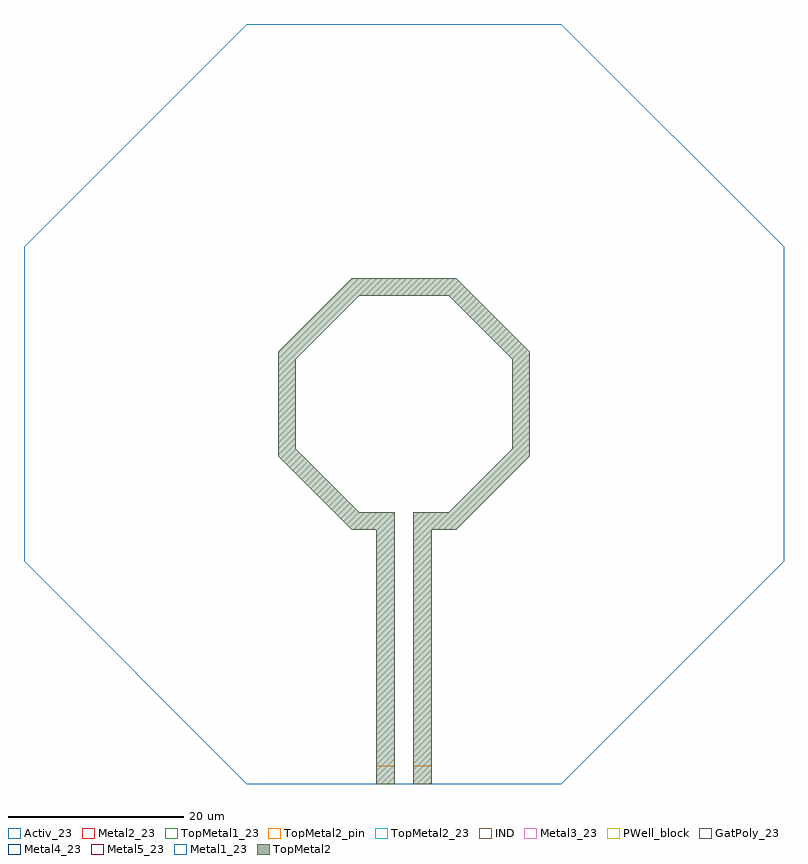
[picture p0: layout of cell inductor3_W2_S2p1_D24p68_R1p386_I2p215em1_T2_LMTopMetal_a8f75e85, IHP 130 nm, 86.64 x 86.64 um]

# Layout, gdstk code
import gdstk
lib = gdstk.Library(unit=1e-6, precision=1e-09)
def R(c, l, rs):  # rectangles x0, y0, x1, y1
    for r in rs: c.add(gdstk.rectangle(r[:2], r[2:], *l))
def P(c, l, *ps):  # polygons
    for p in ps: c.add(gdstk.Polygon(p, *l))
Activ_23 = (1, 23)
GatPoly_23 = (5, 23)
Metal1_23 = (8, 23)
Metal2_23 = (10, 23)
IND = (27, 0)
Metal3_23 = (30, 23)
PWell_block = (46, 21)
Metal4_23 = (50, 23)
Metal5_23 = (67, 23)
TopMetal1_23 = (126, 23)
TopMetal2 = (134, 0)
TopMetal2_pin = (134, 2)
TopMetal2_23 = (134, 23)

unnamed_117 = lib.new_cell('Unnamed_117')
P(unnamed_117, TopMetal2, [(-5.94,28.979),(-14.341,37.38),(-14.341,49.26),(-5.94,57.661),(5.94,57.661),(14.341,49.26),(14.341,37.38),(5.94,28.979),(1.05,28.979),(1.05,30.979),(5.112,30.979),(12.341,38.208),(12.341,48.432),(5.112,55.661),(-5.112,55.661),(-12.341,48.432),(-12.341,38.208),(-5.112,30.979),(-1.05,30.979),(-1.05,28.979)])

rectangle_gdsfactorypcom = lib.new_cell('rectangle_gdsfactorypcomponentspshapesprectangle_S2p1_3_26b8a937')
R(rectangle_gdsfactorypcom, TopMetal2, [(0,0,2.1,30.98)])

c_rectangle_gdsfactorypcom = lib.new_cell('rectangle_gdsfactorypcomponentspshapesprectangle_S2p1_2_11f85509')
R(c_rectangle_gdsfactorypcom, TopMetal2_pin, [(0,0,2.1,2.1)])

inductor3_w2_s2p1_d24p68 = lib.new_cell('inductor3_W2_S2p1_D24p68_R1p386_I2p215em1_T2_LMTopMetal_a8f75e85')
P(inductor3_w2_s2p1_d24p68, Activ_23, [(-17.944,0),(-43.32,25.376),(-43.32,61.264),(-17.944,86.64),(17.944,86.64),(43.32,61.264),(43.32,25.376),(17.944,0)])
P(inductor3_w2_s2p1_d24p68, GatPoly_23, [(-17.944,0),(-43.32,25.376),(-43.32,61.264),(-17.944,86.64),(17.944,86.64),(43.32,61.264),(43.32,25.376),(17.944,0)])
P(inductor3_w2_s2p1_d24p68, Metal1_23, [(-17.944,0),(-43.32,25.376),(-43.32,61.264),(-17.944,86.64),(17.944,86.64),(43.32,61.264),(43.32,25.376),(17.944,0)])
P(inductor3_w2_s2p1_d24p68, Metal2_23, [(-17.944,0),(-43.32,25.376),(-43.32,61.264),(-17.944,86.64),(17.944,86.64),(43.32,61.264),(43.32,25.376),(17.944,0)])
P(inductor3_w2_s2p1_d24p68, IND, [(-17.944,0),(-43.32,25.376),(-43.32,61.264),(-17.944,86.64),(17.944,86.64),(43.32,61.264),(43.32,25.376),(17.944,0)])
P(inductor3_w2_s2p1_d24p68, Metal3_23, [(-17.944,0),(-43.32,25.376),(-43.32,61.264),(-17.944,86.64),(17.944,86.64),(43.32,61.264),(43.32,25.376),(17.944,0)])
P(inductor3_w2_s2p1_d24p68, PWell_block, [(-17.944,0),(-43.32,25.376),(-43.32,61.264),(-17.944,86.64),(17.944,86.64),(43.32,61.264),(43.32,25.376),(17.944,0)])
P(inductor3_w2_s2p1_d24p68, Metal4_23, [(-17.944,0),(-43.32,25.376),(-43.32,61.264),(-17.944,86.64),(17.944,86.64),(43.32,61.264),(43.32,25.376),(17.944,0)])
P(inductor3_w2_s2p1_d24p68, Metal5_23, [(-17.944,0),(-43.32,25.376),(-43.32,61.264),(-17.944,86.64),(17.944,86.64),(43.32,61.264),(43.32,25.376),(17.944,0)])
P(inductor3_w2_s2p1_d24p68, TopMetal1_23, [(-17.944,0),(-43.32,25.376),(-43.32,61.264),(-17.944,86.64),(17.944,86.64),(43.32,61.264),(43.32,25.376),(17.944,0)])
P(inductor3_w2_s2p1_d24p68, TopMetal2_23, [(-17.944,0),(-43.32,25.376),(-43.32,61.264),(-17.944,86.64),(17.944,86.64),(43.32,61.264),(43.32,25.376),(17.944,0)])
inductor3_w2_s2p1_d24p68.add(gdstk.Reference(unnamed_117, (0,0)))
inductor3_w2_s2p1_d24p68.add(gdstk.Reference(rectangle_gdsfactorypcom, (-3.15,0)))
inductor3_w2_s2p1_d24p68.add(gdstk.Reference(rectangle_gdsfactorypcom, (1.05,0)))
inductor3_w2_s2p1_d24p68.add(gdstk.Reference(c_rectangle_gdsfactorypcom, (1.05,0)))
inductor3_w2_s2p1_d24p68.add(gdstk.Reference(c_rectangle_gdsfactorypcom, (-3.15,0)))

lib.write_gds('inductor3_W2_S2p1_D24p68_R1p386_I2p215em1_T2_LMTopMetal_a8f75e85.gds')
